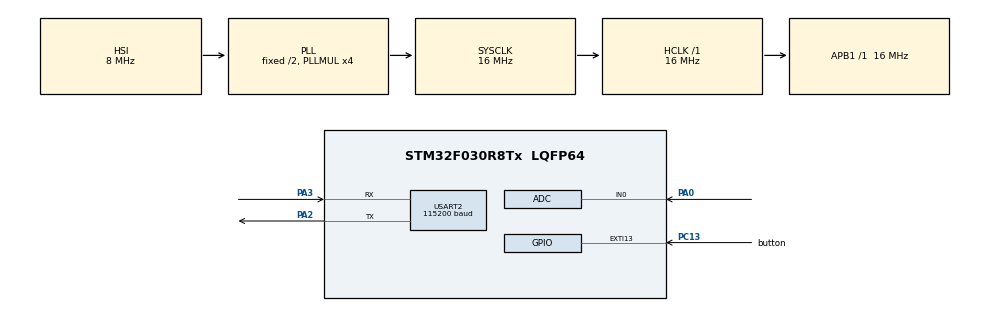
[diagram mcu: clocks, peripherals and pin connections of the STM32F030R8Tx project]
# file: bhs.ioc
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Mcu.Family=STM32F0
Mcu.Name=STM32F030R8Tx
Mcu.Package=LQFP64
NVIC.EXTI4_15_IRQn=true\:0\:0\:false\:false\:true\:true\:true\:true
NVIC.TIM6_IRQn=true\:3\:0\:false\:false\:true\:false\:true\:true
NVIC.TimeBase=TIM6_IRQn
NVIC.TimeBaseIP=TIM6
PA0.Mode=IN0
PA0.Signal=ADC_IN0
PA2.Mode=Asynchronous
PA2.Signal=USART2_TX
PA3.Mode=Asynchronous
PA3.Signal=USART2_RX
PC13.GPIO_Label=button
PC13.GPIO_ModeDefaultEXTI=GPIO_MODE_IT_FALLING
PC13.Signal=GPXTI13
ProjectManager.HeapSize=0x200
ProjectManager.StackSize=0x400
ProjectManager.TargetToolchain=STM32CubeIDE
RCC.AHBFreq_Value=16000000
RCC.APB1Freq_Value=16000000
RCC.APB1TimFreq_Value=16000000
RCC.HCLKFreq_Value=16000000
RCC.PLLMUL=RCC_PLL_MUL4
RCC.SYSCLKFreq_VALUE=16000000
RCC.SYSCLKSource=RCC_SYSCLKSOURCE_PLLCLK
USART2.BaudRate=115200
USART2.VirtualMode-Asynchronous=VM_ASYNC
VP_SYS_VS_tim6.Mode=TIM6
board=custom

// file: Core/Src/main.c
/* USER CODE BEGIN Header */

/* USER CODE END Header */
#include "main.h"

/* USER CODE BEGIN Includes */
#include "freeRTOS.h"
#include "string.h"
#include "stdio.h"
#include "task.h"
#include "queue.h"
/* USER CODE END Includes */

/* USER CODE BEGIN PD */
/* voltage threshold below which low power mode is turned ON */
#define VOLTAGE_THRESHOLD_LOW 0.50f

/* External interrupt line number for the button */
#define BUTTON_EXTI_IRQn   EXTI4_15_IRQn
/* USER CODE END PD */

/* ADC handle for voltage reading */
ADC_HandleTypeDef hadc;
/* UART handle for printing logs to serial monitor */
UART_HandleTypeDef huart2;
/* USER CODE BEGIN PV */
/* queue to pass input for logging task */
QueueHandle_t q_print;
/* USER CODE END PV */

void SystemClock_Config(void);
static void MX_GPIO_Init(void);
static void MX_ADC_Init(void);
static void MX_USART2_UART_Init(void);
/* USER CODE BEGIN PFP */
/* FreeRTOS task handlers */
static void voltagetask_handler(void* parameters);
static void logtask_handler(void* parameters);
static void lowpowertask_handler(void* parameters);
/* Utility: Convert integer to string with fixed number of digits */
static void intToStr(int val, char *buf , int digits);
/* USER CODE END PFP */

/* USER CODE BEGIN 0 */
BaseType_t status; // Stores return values of task creations
TaskHandle_t voltagetask_handle;
TaskHandle_t logtask_handle;
TaskHandle_t lowpowertask_handle;
/* USER CODE END 0 */

int main(void)
{

  /* MCU Configuration--------------------------------------------------------*/

  /* Reset of all peripherals, Initializes the Flash interface and the Systick. */
  HAL_Init();

  /* Configure system clock (HSE, PLL settings handled inside) */
  SystemClock_Config();

  /* Initialize all configured peripherals */
  MX_GPIO_Init();
  MX_ADC_Init();
  MX_USART2_UART_Init();
  /* USER CODE BEGIN 2 */
  /* ---------------- FreeRTOS Initialization ---------------- */
  /* Create a queue to hold voltage strings (20 bytes each), max 10 items */
 q_print = xQueueCreate(10,sizeof(char[20]));
 configASSERT(q_print != NULL);

 status = xTaskCreate(voltagetask_handler, "voltage task", 128, NULL, 2, &voltagetask_handle);
 configASSERT(status == pdPASS);
 status = xTaskCreate(logtask_handler, "log task", 128, NULL, 2, &logtask_handle);
 configASSERT(status == pdPASS);
 status = xTaskCreate(lowpowertask_handler, "low power task", 128, NULL, 3, &lowpowertask_handle);
 configASSERT(status == pdPASS);
 /* Start the FreeRTOS kernel (will not return unless error occurs) */
 vTaskStartScheduler();
  /* USER CODE END 2 */

  /* Infinite loop */
  while (1)
  {

  }
}

void SystemClock_Config(void)
{
  RCC_OscInitTypeDef RCC_OscInitStruct = {0};
  RCC_ClkInitTypeDef RCC_ClkInitStruct = {0};

  /** Initializes the RCC Oscillators according to the specified parameters
  * in the RCC_OscInitTypeDef structure.
  */
  RCC_OscInitStruct.OscillatorType = RCC_OSCILLATORTYPE_HSI|RCC_OSCILLATORTYPE_HSI14;
  RCC_OscInitStruct.HSIState = RCC_HSI_ON;
  RCC_OscInitStruct.HSI14State = RCC_HSI14_ON;
  RCC_OscInitStruct.HSICalibrationValue = RCC_HSICALIBRATION_DEFAULT;
  RCC_OscInitStruct.HSI14CalibrationValue = 16;
  RCC_OscInitStruct.PLL.PLLState = RCC_PLL_ON;
  RCC_OscInitStruct.PLL.PLLSource = RCC_PLLSOURCE_HSI;
  RCC_OscInitStruct.PLL.PLLMUL = RCC_PLL_MUL4;
  RCC_OscInitStruct.PLL.PREDIV = RCC_PREDIV_DIV1;
  if (HAL_RCC_OscConfig(&RCC_OscInitStruct) != HAL_OK)
  {
    Error_Handler();
  }

  /** Initializes the CPU, AHB and APB buses clocks
  */
  RCC_ClkInitStruct.ClockType = RCC_CLOCKTYPE_HCLK|RCC_CLOCKTYPE_SYSCLK
                              |RCC_CLOCKTYPE_PCLK1;
  RCC_ClkInitStruct.SYSCLKSource = RCC_SYSCLKSOURCE_PLLCLK;
  RCC_ClkInitStruct.AHBCLKDivider = RCC_SYSCLK_DIV1;
  RCC_ClkInitStruct.APB1CLKDivider = RCC_HCLK_DIV1;

  if (HAL_RCC_ClockConfig(&RCC_ClkInitStruct, FLASH_LATENCY_0) != HAL_OK)
  {
    Error_Handler();
  }
}

static void MX_ADC_Init(void)
{

  ADC_ChannelConfTypeDef sConfig = {0};

  /** Configure the global features of the ADC (Clock, Resolution, Data Alignment and number of conversion)
  */
  hadc.Instance = ADC1;
  hadc.Init.ClockPrescaler = ADC_CLOCK_ASYNC_DIV1;
  hadc.Init.Resolution = ADC_RESOLUTION_12B;
  hadc.Init.DataAlign = ADC_DATAALIGN_RIGHT;
  hadc.Init.ScanConvMode = ADC_SCAN_DIRECTION_FORWARD;
  hadc.Init.EOCSelection = ADC_EOC_SINGLE_CONV;
  hadc.Init.LowPowerAutoWait = DISABLE;
  hadc.Init.LowPowerAutoPowerOff = DISABLE;
  hadc.Init.ContinuousConvMode = DISABLE;
  hadc.Init.DiscontinuousConvMode = DISABLE;
  hadc.Init.ExternalTrigConv = ADC_SOFTWARE_START;
  hadc.Init.ExternalTrigConvEdge = ADC_EXTERNALTRIGCONVEDGE_NONE;
  hadc.Init.DMAContinuousRequests = DISABLE;
  hadc.Init.Overrun = ADC_OVR_DATA_PRESERVED;
  if (HAL_ADC_Init(&hadc) != HAL_OK)
  {
    Error_Handler();
  }

  /** Configure for the selected ADC regular channel to be converted.
  */
  sConfig.Channel = ADC_CHANNEL_0;
  sConfig.Rank = ADC_RANK_CHANNEL_NUMBER;
  sConfig.SamplingTime = ADC_SAMPLETIME_1CYCLE_5;
  if (HAL_ADC_ConfigChannel(&hadc, &sConfig) != HAL_OK)
  {
    Error_Handler();
  }

}

static void MX_USART2_UART_Init(void)
{

  huart2.Instance = USART2;
  huart2.Init.BaudRate = 115200;
  huart2.Init.WordLength = UART_WORDLENGTH_8B;
  huart2.Init.StopBits = UART_STOPBITS_1;
  huart2.Init.Parity = UART_PARITY_NONE;
  huart2.Init.Mode = UART_MODE_TX_RX;
  huart2.Init.HwFlowCtl = UART_HWCONTROL_NONE;
  huart2.Init.OverSampling = UART_OVERSAMPLING_16;
  huart2.Init.OneBitSampling = UART_ONE_BIT_SAMPLE_DISABLE;
  huart2.AdvancedInit.AdvFeatureInit = UART_ADVFEATURE_NO_INIT;
  if (HAL_UART_Init(&huart2) != HAL_OK)
  {
    Error_Handler();
  }

}

static void MX_GPIO_Init(void)
{
  GPIO_InitTypeDef GPIO_InitStruct = {0};

  /* GPIO Ports Clock Enable */
  __HAL_RCC_GPIOC_CLK_ENABLE();
  __HAL_RCC_GPIOA_CLK_ENABLE();

  /*Configure GPIO pin : button_Pin */
  GPIO_InitStruct.Pin = button_Pin;
  GPIO_InitStruct.Mode = GPIO_MODE_IT_FALLING;
  GPIO_InitStruct.Pull = GPIO_NOPULL;
  HAL_GPIO_Init(button_GPIO_Port, &GPIO_InitStruct);

  /* EXTI interrupt init*/
  HAL_NVIC_SetPriority(EXTI4_15_IRQn, 0, 0);
  HAL_NVIC_EnableIRQ(EXTI4_15_IRQn);

  /* USER CODE BEGIN MX_GPIO_Init_2 */
  HAL_NVIC_SetPriority(BUTTON_EXTI_IRQn, 3, 0);
  HAL_NVIC_EnableIRQ(BUTTON_EXTI_IRQn);
  /* USER CODE END MX_GPIO_Init_2 */
}

/* USER CODE BEGIN 4 */

static void lowpowertask_handler(void* parameters){
	char msg[20];
	while(1){
		/* Block this task until notified  */
		ulTaskNotifyTake(pdTRUE,portMAX_DELAY);
		/* Log entry into sleep mode */
		strncpy(msg, "Entering sleep mode\r\n", sizeof(msg));
		msg[sizeof(msg) - 1] = '\0';// Ensure null-termination
		HAL_UART_Transmit(&huart2, (uint8_t*)msg, strlen(msg), HAL_MAX_DELAY);
		/* Prepare for external wakeup via button EXTI */
		__HAL_GPIO_EXTI_CLEAR_IT(button_Pin);
		HAL_NVIC_EnableIRQ(BUTTON_EXTI_IRQn);// Re-enable button interrupt
		HAL_SuspendTick();
		HAL_PWR_EnterSLEEPMode(PWR_LOWPOWERREGULATOR_ON, PWR_SLEEPENTRY_WFI);
		/* Re-initialize HAL and system clock after waking up */
		HAL_ResumeTick();
		HAL_NVIC_DisableIRQ(BUTTON_EXTI_IRQn);
		/* Resume the voltage monitoring task */
		vTaskResume(voltagetask_handle);
	}
}

static void voltagetask_handler(void* parameters){
	float voltage = 0;
	char msg[20];
	uint16_t adcVal;
		while (1) {
			 /* Start ADC conversion and wait for result */
		    HAL_ADC_Start(&hadc);
		    HAL_ADC_PollForConversion(&hadc, HAL_MAX_DELAY);
		    adcVal = HAL_ADC_GetValue(&hadc);
		    /* Convert ADC value to voltage (Assuming 3.3V ref and 12-bit ADC) */
		    voltage = (adcVal * 3.3f) / 4095.0f;
		    vTaskDelay(pdMS_TO_TICKS(1000));
		    /* Check if voltage falls below critical threshold */
		    if(voltage < VOLTAGE_THRESHOLD_LOW){
		    	xTaskNotifyGive(lowpowertask_handle);
		    	vTaskSuspend(NULL);
		    }
		    		int intPart = (int)voltage;
		    		int decPart = (int)((voltage - intPart) * 1000);
		    		// Convert integer part to string
		    		 int idx = 0;
		    		        if (intPart >= 100)
		    		        {
		    		            msg[idx++] = '0' + (intPart / 100);
		    		            intPart %= 100;
		    		            msg[idx++] = '0' + (intPart / 10);
		    		            intPart %= 10;
		    		            msg[idx++] = '0' + intPart;
		    		        }
		    		        else if (intPart >= 10)
		    		        {
		    		            msg[idx++] = '0' + (intPart / 10);
		    		            intPart %= 10;
		    		            msg[idx++] = '0' + intPart;
		    		        }
		    		        else
		    		        {
		    		            msg[idx++] = '0' + intPart;
		    		        }
		    		        msg[idx++] = '.';
		    		        intToStr(decPart,&msg[idx],3);
		    		        idx+=3;
		    		        msg[idx++] = ' ';
		    		        msg[idx++] = 'V';
		    		        msg[idx++] = '\r';
		    		        msg[idx++] = '\n';
		    		        msg[idx] = '\0';
		    /* Send voltage message to queue for UART transmission */
		    if(xQueueSend(q_print,msg,pdMS_TO_TICKS(100)) != pdPASS){
		    	HAL_UART_Transmit(&huart2, (uint8_t*)"send failed\r\n", strlen("send failed\r\n"), HAL_MAX_DELAY);
		    }
		    /* Notify the log task to handle UART transmission */
		    xTaskNotifyGive(logtask_handle);
		}
}

static void logtask_handler(void* parameters){

	char msg[20];
	while(1){
		/* Block until notified */
	ulTaskNotifyTake(pdTRUE,portMAX_DELAY);
	/* Retrieve voltage string from queue and transmit via UART */
	if( xQueueReceive(q_print, msg, 100) == pdPASS){
		HAL_UART_Transmit(&huart2, (uint8_t*)msg, strlen(msg), HAL_MAX_DELAY);
	}
	}

}

static void intToStr(int val, char *buf , int digits){
	for(int i = digits-1; i>=0; i--){
		buf[i]='0'+(val%10);// Extract last digit
		val/=10;// Shift right by one digit
	}
}

void HAL_GPIO_EXTI_Callback(uint16_t GPIO_Pin) {
    if (GPIO_Pin == button_Pin) {

    }
}

/* USER CODE END 4 */

void HAL_TIM_PeriodElapsedCallback(TIM_HandleTypeDef *htim)
{
  if (htim->Instance == TIM6)
  {
    HAL_IncTick();
  }
}

void Error_Handler(void)
{
  __disable_irq();
  while (1)
  {
  }
}
